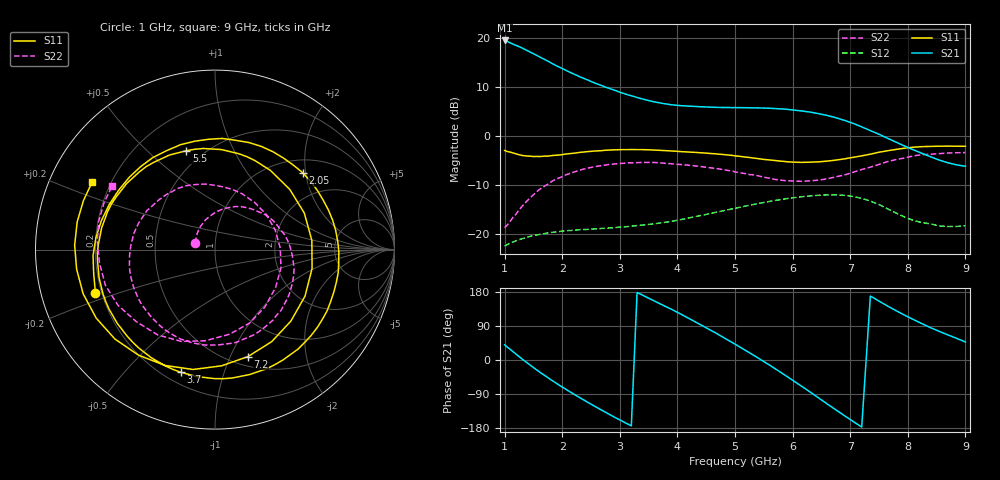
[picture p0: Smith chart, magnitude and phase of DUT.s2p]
! Created on 9/7/2020 5:06:27 PM
! Agilent Nonlinear Vector Network Analyzer (NVNA) Version 02.04.05
! S-Parameter data
! freq S11 S21 S12 S22
# Hz S RI R 50
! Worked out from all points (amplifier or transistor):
!   101 points, 1 GHz to 9 GHz, reference 50 ohm
!   highest |S21| = 19.4 dB at 1 GHz (marker M1)
!   |S21| within 3 dB of that: start of sweep to 1.55 GHz
!   unconditionally stable (mu >= 1): 2.982 GHz to end of sweep
!   at 1.8 GHz: K = 0.85, MSG = 17.3 dB, |S12| = -19.7 dB
!   at 3.75 GHz: K = 1.11, MAG = 10.1 dB, |S12| = -17.7 dB
!   at 9 GHz: K = 2.32, MAG = -0.4 dB, |S12| = -18.3 dB
!   S11 on the Smith chart (normalised r, x): 1 GHz: 0.18, -0.17; 2.05 GHz: 1.30, +1.93; 3.7 GHz: 0.26, -0.73; 5.5 GHz: 0.41, +0.67; 7.2 GHz: 0.60, -1.17; 9 GHz: 0.13, +0.25
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1e9  -0.6664 -0.2394  7.175 6.032  0.0736 -0.0134  -0.1094 0.036
1.1e9  -0.6795 -0.0334  7.819 4.121  0.0755 -0.0274  -0.098 0.0926
1.25e9  -0.589 0.2517  8.012 1.289  0.0721 -0.0489  -0.0511 0.1678
1.4e9  -0.4143 0.4621  7.273 -1.085  0.0622 -0.0686  0.0231 0.2179
1.55e9  -0.1901 0.5851  5.997 -2.84  0.0467 -0.0852  0.1166 0.24
1.8e9  0.1918 0.5959  3.454 -4.364  0.0131 -0.1024  0.2713 0.1991
2.05e9  0.4887 0.4282  1.137 -4.555  -0.0244 -0.1045  0.3866 0.0842
2.35e9  0.6718 0.109  -0.8998 -3.788  -0.0665 -0.0884  0.4406 -0.1089
2.65e9  0.6621 -0.2366  -2.099 -2.558  -0.0969 -0.058  0.3826 -0.3095
2.95e9  0.5001 -0.5167  -2.571 -1.243  -0.1147 -0.0188  0.2422 -0.4588
3.3e9  0.1942 -0.6959  -2.456 0.0757  -0.1168 0.0323  0.013 -0.5316
3.7e9  -0.1902 -0.6837  -1.838 1.138  -0.0938 0.0885  -0.2531 -0.4644
4.4e9  -0.6244 -0.2455  -0.1103 1.974  0.0108 0.153  -0.4768 -0.0933
5e9  -0.5511 0.2925  1.446 1.291  0.1438 0.1119  -0.3562 0.2375
5.5e9  -0.1591 0.5512  1.912 -0.135  0.2077 -0.0206  -0.1065 0.3625
6e9  0.3084 0.4414  1.093 -1.472  0.1412 -0.1845  0.1516 0.3107
6.45e9  0.5396 0.0515  -0.2909 -1.656  -0.032 -0.2449  0.3353 0.1092
6.9e9  0.4225 -0.3986  -1.203 -0.7821  -0.2022 -0.1411  0.3378 -0.2105
7.2e9  0.1837 -0.5961  -1.231 -0.0669  -0.2298 -0.00859  0.1931 -0.4091
7.8e9  -0.4263 -0.5879  -0.5499 0.6592  -0.0922 0.1337  -0.3189 -0.4755
8.4e9  -0.771 -0.1085  0.0535 0.6066  0.00738 0.1259  -0.6436 -0.0747
9e9  -0.6841 0.3775  0.3289 0.3615  0.0757 0.0945  -0.5737 0.3529
